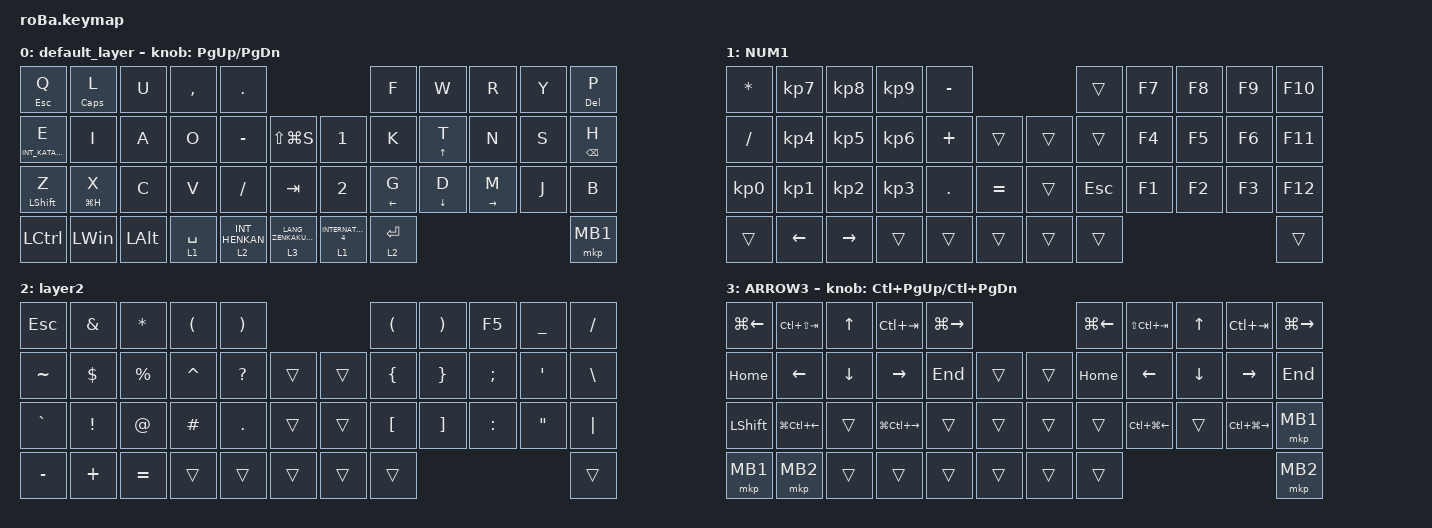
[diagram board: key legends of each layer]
#include <behaviors.dtsi>
#include <dt-bindings/zmk/bt.h>
#include <dt-bindings/zmk/keys.h>
#include <dt-bindings/zmk/pointing.h>

#define ZMK_POINTING_DEFAULT_SCRL_VAL 100
#define MOUSE 4
#define SCROLL 5
#define NUM 6

&mt {
    flavor = "hold-preferred";
    quick-tap-ms = <0>;
};

&sl { release-after-ms = <250>; };

/ {
    combos {
        compatible = "zmk,combos";

        BT0 {
            bindings = <&bt BT_SEL 0>;
            key-positions = <28 22>;
        };

        BT1 {
            bindings = <&bt BT_SEL 1>;
            key-positions = <28 23>;
        };

        BT2 {
            bindings = <&bt BT_SEL 2>;
            key-positions = <28 24>;
        };

        BT3 {
            bindings = <&none>;
            key-positions = <28 25>;
        };

        tab {
            bindings = <&kp TAB>;
            key-positions = <10 11>;
        };

        plas {
            bindings = <&kp PLUS>;
            key-positions = <27 26>;
        };
    };

    macros {
        to_layer_0: to_layer_0 {
            compatible = "zmk,behavior-macro-one-param";
            #binding-cells = <1>;
            bindings = <&to 0 &macro_param_1to1 &kp MACRO_PLACEHOLDER>;
            label = "TO_LAYER_0";
        };

        mkp_exit_AML: mkp_exit_AML {
            compatible = "zmk,behavior-macro-one-param";
            #binding-cells = <1>;
            bindings =
                <&macro_press>,
                <&macro_param_1to1 &mkp MACRO_PLACEHOLDER>,
                <&macro_pause_for_release>,
                <&macro_release>,
                <&macro_param_1to1 &mkp MACRO_PLACEHOLDER>,
                <&macro_tap>,
                <&sl 0>;

            label = "MKP_EXIT_AML";
        };

        parenthesis: parenthesis {
            compatible = "zmk,behavior-macro";
            #binding-cells = <0>;
            bindings = <&kp LANG_HANJA &kp LEFT_PARENTHESIS &kp RIGHT_PARENTHESIS &kp LEFT_ARROW>;
            label = "parenthesis";
        };
    };

    behaviors {
        scroll_up_down: behavior_sensor_rotate_mouse_wheel_up_down {
            compatible = "zmk,behavior-sensor-rotate";
            #sensor-binding-cells = <0>;
            bindings = <&msc SCRL_DOWN>, <&msc SCRL_UP>;

            // 追加: スクロールのタップ時間を設定 (20ms)

            tap-ms = <20>;
        };

        multi_tap_tab_bspc: behavior_multi_tap {
            label = "MT_TAB_BSPC";
            #binding-cells = <0>;
            bindings = <&kp TAB>, <&kp BSPC>;

            max-taps = <2>;
            max-tap-interrupt-ms = <250>;
        };
    };

    keymap {
        compatible = "zmk,keymap";

        default_layer {
            bindings = <
&mt ESC Q                   &mt CAPS L    &kp U         &kp COMMA    &kp DOT                                                                 &kp F             &kp W             &kp R              &kp Y  &mt DELETE P
&mt INT_KATAKANAHIRAGANA E  &kp I         &kp A         &kp O        &kp MINUS         &kp LS(LG(S))                  &kp NUMBER_1           &kp K             &mt UP_ARROW T    &kp N              &kp S  &mt BACKSPACE H
&mt LEFT_SHIFT Z            &mt LG(H) X   &kp C         &kp V        &kp SLASH         &kp TAB                        &kp NUMBER_2           &mt LEFT_ARROW G  &mt DOWN_ARROW D  &mt RIGHT_ARROW M  &kp J  &kp B
&kp LCTRL                   &kp LEFT_WIN  &kp LEFT_ALT  &lt 1 SPACE  &lt 2 INT_HENKAN  &lt 3 LANG_ZENKAKUHANKAKU      &lt 1 INTERNATIONAL_4  &lt 2 ENTER                                                   &mkp MB1
            >;

            sensor-bindings = <&inc_dec_kp PAGE_UP PAGE_DOWN>;
        };

        NUM1 {
            bindings = <
&kp ASTERISK     &kp KP_NUMBER_7  &kp KP_NUMBER_8  &kp KP_NUMBER_9  &kp MINUS                          &trans      &kp F7  &kp F8  &kp F9  &kp F10
&kp SLASH        &kp KP_NUMBER_4  &kp KP_NUMBER_5  &kp KP_NUMBER_6  &kp PLUS    &trans         &trans  &trans      &kp F4  &kp F5  &kp F6  &kp F11
&kp KP_NUMBER_0  &kp KP_NUMBER_1  &kp KP_NUMBER_2  &kp KP_NUMBER_3  &kp PERIOD  &kp EQUAL      &trans  &kp ESCAPE  &kp F1  &kp F2  &kp F3  &kp F12
&trans           &kp LEFT_ARROW   &kp RIGHT_ARROW  &trans           &trans      &trans         &trans  &trans                              &trans
            >;
        };

        layer2 {
            bindings = <
&kp ESCAPE  &kp AMPERSAND    &kp ASTERISK  &kp LEFT_PARENTHESIS  &kp RIGHT_PARENTHESIS                      &kp LEFT_PARENTHESIS  &kp RIGHT_PARENTHESIS  &kp F5         &kp UNDER          &kp SLASH
&kp TILDE   &kp DOLLAR       &kp PERCENT   &kp CARET             &kp QUESTION           &trans      &trans  &kp LEFT_BRACE        &kp RIGHT_BRACE        &kp SEMICOLON  &kp SINGLE_QUOTE   &kp BACKSLASH
&kp GRAVE   &kp EXCLAMATION  &kp AT_SIGN   &kp HASH              &kp DOT                &trans      &trans  &kp LEFT_BRACKET      &kp RIGHT_BRACKET      &kp COLON      &kp DOUBLE_QUOTES  &kp PIPE
&kp MINUS   &kp PLUS         &kp EQUAL     &trans                &trans                 &trans      &trans  &trans                                                                         &trans
            >;
        };

        ARROW3 {
            bindings = <
&kp LG(LEFT_ARROW)  &kp LC(LS(TAB))         &kp UP_ARROW    &kp LC(TAB)              &kp LG(RIGHT_ARROW)                      &kp LG(LEFT_ARROW)  &kp LS(LC(TAB))         &kp UP_ARROW    &kp LC(TAB)              &kp LG(RIGHT_ARROW)
&kp HOME            &kp LEFT_ARROW          &kp DOWN_ARROW  &kp RIGHT_ARROW          &kp END              &trans      &trans  &kp HOME            &kp LEFT_ARROW          &kp DOWN_ARROW  &kp RIGHT_ARROW          &kp END
&kp LEFT_SHIFT      &kp LG(LC(LEFT_ARROW))  &trans          &kp LG(LC(RIGHT_ARROW))  &trans               &trans      &trans  &trans              &kp LC(LG(LEFT_ARROW))  &trans          &kp LC(LG(RIGHT_ARROW))  &mkp MB1
&mkp MB1            &mkp MB2                &trans          &trans                   &trans               &trans      &trans  &trans                                                                               &mkp MB2
            >;

            sensor-bindings = <&inc_dec_kp LC(PAGE_UP) LC(PAGE_DOWN)>;
        };
    };
};

run: silent
